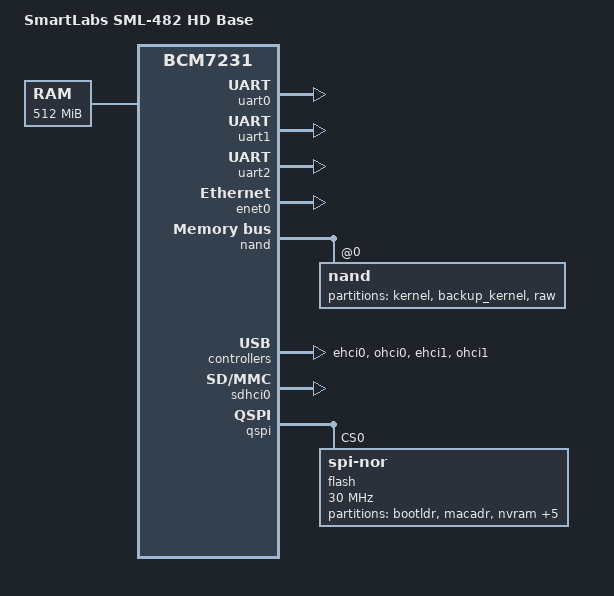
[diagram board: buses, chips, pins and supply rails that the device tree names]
// SPDX-License-Identifier: GPL-2.0
/dts-v1/;

#include "bcm7231.dtsi"

/ {
	compatible = "sml,sml-482", "brcm,bcm7231";
	model = "SmartLabs SML-482 HD Base";

	memory@0 {
		device_type = "memory";
		reg = <0x00000000 0x10000000>,
		      <0x20000000 0x10000000>;
	};

	aliases {
		uart0 = &uart2;
	};

	chosen {
		stdout-path = "uart0:115200n8";
	};
};

&uart0 {
	status = "okay";
};

&uart1 {
	status = "okay";
};

&uart2 {
	status = "okay";
};

&enet0 {
	status = "okay";
};

&nand {
	status = "okay";

	nand@0 {
		reg = <0>;
		nand-ecc-strength = <4>;
		nand-ecc-step-size = <512>;

		partitions {
			compatible = "fixed-partitions";
			#address-cells = <1>;
			#size-cells = <1>;

			partition@0 {
				label = "kernel";
				reg = <0x00000000 0x00800000>;
				read-only;
			};

			partition@800000 {
				label = "backup_kernel";
				reg = <0x00800000 0x00800000>;
				read-only;
			};

			partition@1000000 {
				label = "raw";
				reg = <0x01000000 0x0f000000>;
			};
		};
	};
};

&ehci0 {
	status = "okay";
};

&ohci0 {
	status = "okay";
};

&ehci1 {
	status = "okay";
};

&ohci1 {
	status = "okay";
};

&sdhci0 {
	status = "okay";
};

&qspi {
	status = "okay";

	flash@0 {
		compatible = "jedec,spi-nor";
		spi-max-frequency = <30000000>;
		reg = <0>;

		partitions {
			compatible = "fixed-partitions";
			#address-cells = <1>;
			#size-cells = <1>;

			partition@0 {
				label = "bootldr";
				reg = <0x00000000 0x00100000>;
				read-only;
			};

			partition@100000 {
				label = "macadr";
				reg = <0x00100000 0x00010000>;
				read-only;
			};

			partition@110000 {
				label = "nvram";
				reg = <0x00110000 0x00010000>;
				read-only;
			};

			partition@120000 {
				label = "branding";
				reg = <0x00120000 0x00060000>;
				read-only;
			};

			partition@180000 {
				label = "splash";
				reg = <0x00180000 0x00080000>;
				read-only;
			};

			partition@200000 {
				label = "ro_kernel";
				reg = <0x00200000 0x00400000>;
				read-only;
			};

			partition@600000 {
				label = "env";
				reg = <0x00600000 0x00010000>;
				read-only;
			};

			partition@610000 {
				label = "bsec";
				reg = <0x00610000 0x001f0000>;
				read-only;
			};
		};
	};
};
